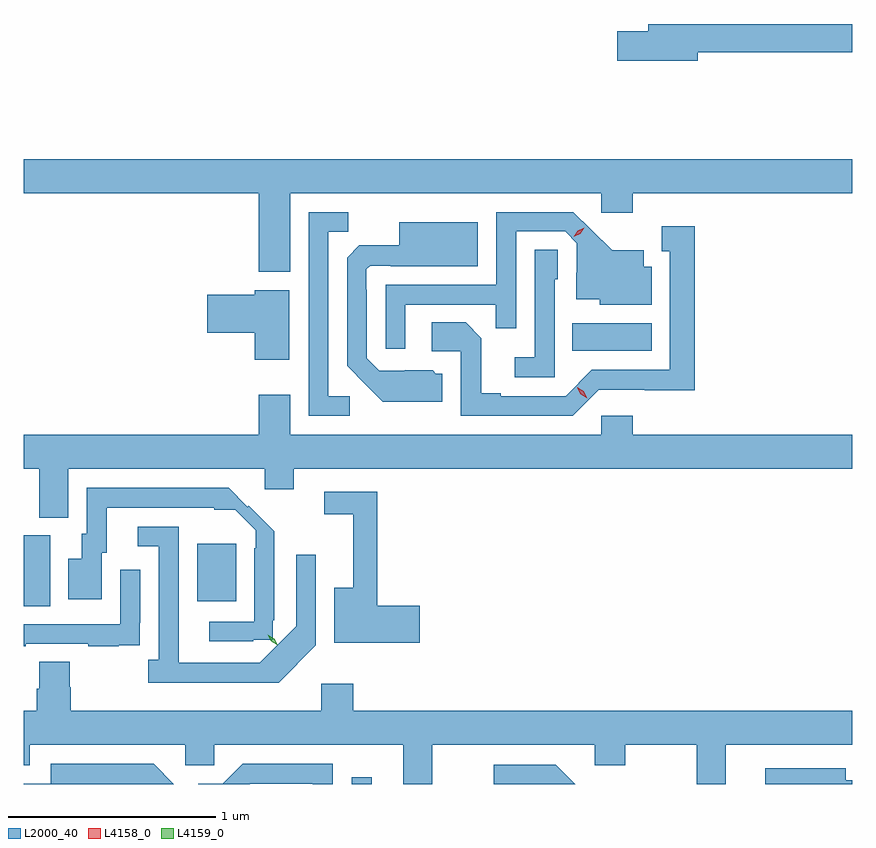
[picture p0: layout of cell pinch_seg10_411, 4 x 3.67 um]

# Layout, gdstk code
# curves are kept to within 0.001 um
import gdstk
lib = gdstk.Library(unit=1e-6, precision=1e-09)
def R(c, l, rs):  # rectangles x0, y0, x1, y1
    for r in rs: c.add(gdstk.rectangle(r[:2], r[2:], *l))
def P(c, l, *ps):  # polygons
    for p in ps: c.add(gdstk.Polygon(p, *l))
L2000_40 = (2000, 40)
L4158_0 = (4158, 0)
L4159_0 = (4159, 0)

pinch_seg10_411 = lib.new_cell('pinch_seg10_411')
R(pinch_seg10_411, L2000_40, [(364.963,1292.135,365.059,1292.167), (363.38,1292.992,363.508,1293.336), (364.217,1293.017,364.405,1293.295), (366.028,1294.226,366.412,1294.36)])
P(pinch_seg10_411, L2000_40, [(366.634,1295.668),(367.38,1295.668),(367.38,1295.804),(366.395,1295.804),(366.395,1295.768),(366.246,1295.768),(366.246,1295.626),(366.634,1295.626)],
  [(364.666,1294.988),(366.168,1294.988),(366.168,1294.893),(366.32,1294.893),(366.32,1294.988),(367.38,1294.988),(367.38,1295.152),(363.38,1295.152),(363.38,1294.988),(364.514,1294.988),(364.514,1294.608),(364.666,1294.608)],
  [(365.223,1294.449),(365.659,1294.449),(365.659,1294.336),(365.757,1294.336),(365.757,1294.803),(365.994,1294.803),(366.051,1294.746),(366.051,1294.604),(366.047,1294.604),(366.047,1294.475),(366.162,1294.475),(366.162,1294.448),(366.412,1294.448),(366.412,1294.633),(366.373,1294.633),(366.373,1294.711),(366.221,1294.711),(366.034,1294.896),(365.661,1294.896),(365.661,1294.545),(365.127,1294.545),(365.127,1294.236),(365.223,1294.236)],
  [(364.954,1294.008),(364.851,1294.008),(364.851,1294.801),(364.947,1294.801),(364.947,1294.896),(364.755,1294.896),(364.755,1293.912),(364.954,1293.912)],
  [(365.401,1294.116),(365.37,1294.116),(365.354,1294.132),(365.097,1294.131),(365.037,1294.191),(365.037,1294.52),(365.034,1294.52),(365.034,1294.62),(365.052,1294.638),(365.152,1294.638),(365.152,1294.634),(365.572,1294.634),(365.572,1294.846),(365.192,1294.846),(365.192,1294.735),(365,1294.735),(364.941,1294.676),(364.941,1294.154),(365.113,1293.98),(365.401,1293.98)],
  [(366.156,1294.038),(366.619,1294.037),(366.619,1294.828),(366.461,1294.828),(366.461,1294.707),(366.5,1294.707),(366.5,1294.134),(366.123,1294.134),(365.997,1294.008),(365.683,1294.008),(365.683,1294.021),(365.589,1294.021),(365.589,1294.288),(365.513,1294.364),(365.349,1294.364),(365.349,1294.224),(365.49,1294.224),(365.49,1293.912),(366.03,1293.912)],
  [(365.943,1294.572),(365.958,1294.572),(365.958,1294.715),(365.847,1294.715),(365.847,1294.195),(365.751,1294.195),(365.751,1294.098),(365.943,1294.098)],
  [(364.663,1294.519),(364.496,1294.519),(364.496,1294.496),(364.266,1294.496),(364.266,1294.313),(364.496,1294.313),(364.496,1294.182),(364.663,1294.182)],
  [(363.595,1293.656),(364.544,1293.656),(364.544,1293.557),(364.684,1293.557),(364.684,1293.656),(367.38,1293.656),(367.38,1293.82),(366.32,1293.82),(366.32,1293.913),(366.168,1293.913),(366.168,1293.82),(364.666,1293.82),(364.666,1294.015),(364.514,1294.015),(364.514,1293.82),(363.38,1293.82),(363.38,1293.656),(363.455,1293.656),(363.455,1293.421),(363.595,1293.421)],
  [(364.487,1292.831),(364.583,1292.831),(364.583,1292.926),(364.59,1292.926),(364.59,1293.355),(364.466,1293.479),(364.46,1293.473),(364.369,1293.564),(363.684,1293.564),(363.684,1293.342),(363.659,1293.342),(363.659,1293.223),(363.596,1293.223),(363.596,1293.027),(363.757,1293.027),(363.757,1293.252),(363.781,1293.252),(363.781,1293.468),(364.3,1293.468),(364.3,1293.458),(364.401,1293.458),(364.5,1293.359),(364.5,1293.274),(364.494,1293.274),(364.494,1292.919),(364.275,1292.919),(364.275,1292.823),(364.487,1292.823)],
  [(365.293,1292.996),(365.087,1292.996),(365.087,1293.546),(364.83,1293.546),(364.83,1293.438),(364.97,1293.438),(364.97,1293.082),(364.88,1293.082),(364.88,1292.818),(365.293,1292.818)],
  [(364.791,1292.804),(364.791,1293.241),(364.695,1293.241),(364.695,1292.897),(364.519,1292.721),(364.129,1292.721),(364.128,1293.378),(363.93,1293.378),(363.93,1293.282),(364.032,1293.282),(364.032,1292.734),(363.981,1292.734),(363.981,1292.624),(364.611,1292.624)],
  [(363.391,1292.811),(363.691,1292.811),(363.691,1292.799),(363.839,1292.799),(363.839,1292.805),(363.941,1292.805),(363.941,1292.914),(363.942,1292.914),(363.942,1293.169),(363.846,1293.169),(363.846,1292.907),(363.38,1292.907),(363.38,1292.799),(363.391,1292.799)],
  [(365.353,1292.324),(366.137,1292.324),(366.137,1292.225),(366.285,1292.225),(366.285,1292.324),(366.629,1292.324),(366.629,1292.135),(366.769,1292.135),(366.769,1292.324),(367.38,1292.324),(367.38,1292.488),(364.97,1292.488),(364.97,1292.62),(364.817,1292.62),(364.817,1292.488),(363.608,1292.488),(363.608,1292.601),(363.603,1292.601),(363.603,1292.726),(363.455,1292.726),(363.455,1292.594),(363.443,1292.594),(363.443,1292.488),(363.38,1292.488),(363.38,1292.225),(363.409,1292.225),(363.409,1292.324),(364.161,1292.324),(364.161,1292.226),(364.299,1292.226),(364.299,1292.324),(365.213,1292.324),(365.213,1292.135),(365.353,1292.135)],
  [(364.007,1292.233),(363.51,1292.233),(363.51,1292.136),(363.38,1292.136),(363.38,1292.135),(364.105,1292.135)],
  [(364.473,1292.136),(364.776,1292.136),(364.776,1292.135),(364.872,1292.135),(364.872,1292.232),(364.437,1292.232),(364.341,1292.136),(364.223,1292.136),(364.223,1292.135),(364.472,1292.135)],
  [(365.949,1292.229),(365.649,1292.229),(365.649,1292.135),(366.043,1292.135)],
  [(367.38,1292.152),(367.348,1292.152),(367.348,1292.212),(366.96,1292.212),(366.96,1292.135),(367.38,1292.135)])
P(pinch_seg10_411, L4158_0, [(366.101,1293.998),(366.069,1294.017),(366.052,1294.049),(366.052,1294.05),(366.052,1294.05),(366.084,1294.03),(366.101,1293.998),(366.101,1293.998)],
  [(366.036,1294.777),(366.036,1294.777),(366.054,1294.807),(366.085,1294.821),(366.085,1294.821),(366.085,1294.821),(366.067,1294.792),(366.036,1294.777)])
P(pinch_seg10_411, L4159_0, [(364.606,1292.805),(364.574,1292.823),(364.557,1292.855),(364.557,1292.855),(364.557,1292.855),(364.589,1292.837),(364.607,1292.805),(364.607,1292.805)])

lib.write_gds('pinch_seg10_411.gds')
